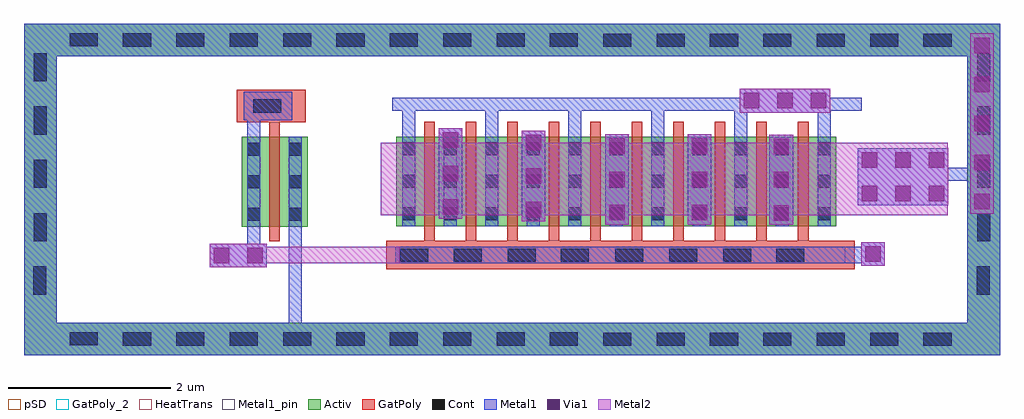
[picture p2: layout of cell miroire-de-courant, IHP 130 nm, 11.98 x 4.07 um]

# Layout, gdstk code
import gdstk
lib = gdstk.Library(unit=1e-6, precision=1e-09)
def R(c, l, rs):  # rectangles x0, y0, x1, y1
    for r in rs: c.add(gdstk.rectangle(r[:2], r[2:], *l))
def A(c, l, x, y, w, h, nx, ny, dx, dy):  # array of equal rectangles
    R(c, l, [(x+i*dx, y+j*dy, x+i*dx+w, y+j*dy+h) for i in range(nx) for j in range(ny)])
Activ = (1, 0)
GatPoly = (5, 0)
GatPoly_2 = (5, 2)
Cont = (6, 0)
Metal1 = (8, 0)
Metal1_pin = (8, 2)
Metal2 = (10, 0)
pSD = (14, 0)
Via1 = (19, 0)
HeatTrans = (51, 0)

via_stack_1 = lib.new_cell('via_stack$1')
R(via_stack_1, Metal1, [(-0.145,-0.555,0.145,0.555)])
R(via_stack_1, Metal2, [(-0.145,-0.555,0.145,0.555)])
A(via_stack_1, Via1, -0.095, -0.505, 0.19, 0.19, 1, 3, 0, 0.41)

nmos_2 = lib.new_cell('nmos$2')
R(nmos_2, Activ, [(0,0,0.3,0.3), (0,0,0.81,1.1), (0.51,0,0.81,0.3)])
R(nmos_2, GatPoly, [(0.34,-0.18,0.47,1.28)])
R(nmos_2, GatPoly_2, [(0.34,-0.18,0.47,1.28)])
A(nmos_2, Cont, 0.07, 0.07, 0.16, 0.16, 1, 3, 0, 0.4)
A(nmos_2, Cont, 0.58, 0.07, 0.16, 0.16, 1, 3, 0, 0.4)
R(nmos_2, Metal1, [(0.07,0,0.23,1.1), (0.58,0,0.74,1.1)])
R(nmos_2, Metal1_pin, [(0.07,0,0.23,1.1), (0.58,0,0.74,1.1)])
R(nmos_2, HeatTrans, [(0.34,-0.18,0.47,1.28)])
nmos_2.add(gdstk.Label('nmos', (0.405,0.55), layer=63, texttype=0))
nmos_2.add(gdstk.Label('nmos', (0.405,0.55), layer=51, texttype=0))

nmos_3 = lib.new_cell('nmos$3')
A(nmos_3, Activ, 0, 0, 0.3, 0.3, 11, 1, 0.51, 0)
R(nmos_3, Activ, [(0,0,5.4,1.1)])
A(nmos_3, GatPoly, 0.34, -0.18, 0.13, 1.46, 10, 1, 0.51, 0)
R(nmos_3, GatPoly_2, [(0.34,-0.18,0.47,1.28)])
A(nmos_3, Cont, 0.07, 0.07, 0.16, 0.16, 11, 3, 0.51, 0.4)
A(nmos_3, Metal1, 0.07, 0, 0.16, 1.1, 11, 1, 0.51, 0)
R(nmos_3, Metal1_pin, [(0.07,0,0.23,1.1), (0.58,0,0.74,1.1)])
A(nmos_3, HeatTrans, 0.34, -0.18, 0.13, 1.46, 10, 1, 0.51, 0)
nmos_3.add(gdstk.Label('nmos', (0.405,0.55), layer=63, texttype=0))
nmos_3.add(gdstk.Label('nmos', (0.405,0.55), layer=51, texttype=0))
nmos_3.add(gdstk.Label('nmos', (0.915,0.55), layer=51, texttype=0))
nmos_3.add(gdstk.Label('nmos', (1.425,0.55), layer=51, texttype=0))
nmos_3.add(gdstk.Label('nmos', (1.935,0.55), layer=51, texttype=0))
nmos_3.add(gdstk.Label('nmos', (2.445,0.55), layer=51, texttype=0))
nmos_3.add(gdstk.Label('nmos', (2.955,0.55), layer=51, texttype=0))
nmos_3.add(gdstk.Label('nmos', (3.465,0.55), layer=51, texttype=0))
nmos_3.add(gdstk.Label('nmos', (3.975,0.55), layer=51, texttype=0))
nmos_3.add(gdstk.Label('nmos', (4.485,0.55), layer=51, texttype=0))
nmos_3.add(gdstk.Label('nmos', (4.995,0.55), layer=51, texttype=0))

via_stack_4 = lib.new_cell('via_stack$4')
R(via_stack_4, Metal1, [(-0.555,-0.35,0.555,0.35)])
R(via_stack_4, Metal2, [(-0.555,-0.35,0.555,0.35)])
A(via_stack_4, Via1, -0.505, -0.3, 0.19, 0.19, 3, 2, 0.41, 0.41)

via_stack_5 = lib.new_cell('via_stack$5')
R(via_stack_5, Metal1, [(-0.555,-0.145,0.555,0.145)])
R(via_stack_5, Metal2, [(-0.555,-0.145,0.555,0.145)])
A(via_stack_5, Via1, -0.505, -0.095, 0.19, 0.19, 3, 1, 0.41, 0)

via_stack_9 = lib.new_cell('via_stack$9')
R(via_stack_9, Metal1, [(-0.35,-0.145,0.35,0.145)])
R(via_stack_9, Metal2, [(-0.35,-0.145,0.35,0.145)])
R(via_stack_9, Via1, [(-0.3,-0.095,-0.11,0.095), (0.11,-0.095,0.3,0.095)])

via_stack_12 = lib.new_cell('via_stack$12')
R(via_stack_12, Metal1, [(-0.145,-0.145,0.145,0.145)])
R(via_stack_12, Metal2, [(-0.145,-0.145,0.145,0.145)])
R(via_stack_12, Via1, [(-0.095,-0.095,0.095,0.095)])

via_stack = lib.new_cell('via_stack')
R(via_stack, Metal1, [(-0.145,-1.105,0.145,1.105)])
R(via_stack, Metal2, [(-0.145,-1.105,0.145,1.105)])
A(via_stack, Via1, -0.095, -1.055, 0.19, 0.19, 1, 5, 0, 0.48)

miroire_de_courant = lib.new_cell('miroire-de-courant')
R(miroire_de_courant, Metal2, [(-1.61,-0.315,4.38,0.575), (4.38,-0.315,5.35,0.575)])
miroire_de_courant.add(gdstk.FlexPath([(-3.17,0.645),(-3.17,1.2)], 0.16, ends="flush", simple_path=True, layer=8, datatype=0))  # Metal1
miroire_de_courant.add(gdstk.FlexPath([(-3.17,-0.455),(-3.17,-0.885)], 0.16, ends="flush", simple_path=True, layer=8, datatype=0))  # Metal1
miroire_de_courant.add(gdstk.FlexPath([(-2.66,-0.455),(-2.66,-1.635)], 0.16, ends="flush", simple_path=True, layer=8, datatype=0))  # Metal1
miroire_de_courant.add(gdstk.FlexPath([(4.09,-0.805),(4.525,-0.805),(4.525,-0.805)], 0.2, ends="flush", simple_path=True, layer=8, datatype=0))  # Metal1
miroire_de_courant.add(gdstk.FlexPath([(-1.43,-0.805),(4.09,-0.805)], 0.2, ends="flush", simple_path=True, layer=8, datatype=0))  # Metal1
miroire_de_courant.add(gdstk.FlexPath([(-5.59,1.835),(5.59,1.835)], 0.4, ends="flush", simple_path=True, layer=8, datatype=0))  # Metal1
miroire_de_courant.add(gdstk.FlexPath([(5.705,0.19),(5.04,0.19)], 0.16, ends="flush", simple_path=True, layer=8, datatype=0))  # Metal1
miroire_de_courant.add(gdstk.FlexPath([(-5.59,-1.835),(5.59,-1.835)], 0.4, ends="flush", simple_path=True, layer=8, datatype=0))  # Metal1
miroire_de_courant.add(gdstk.FlexPath([(5.79,-2.035),(5.79,2.035)], 0.4, ends="flush", simple_path=True, layer=8, datatype=0))  # Metal1
miroire_de_courant.add(gdstk.FlexPath([(-5.79,-2.035),(-5.79,2.035)], 0.4, ends="flush", simple_path=True, layer=8, datatype=0))  # Metal1
miroire_de_courant.add(gdstk.FlexPath([(-2.7,1.025),(-3.29,1.025)], 0.35, ends="flush", simple_path=True, layer=8, datatype=0))  # Metal1
miroire_de_courant.add(gdstk.FlexPath([(-1.47,1.045),(4.295,1.045)], 0.16, ends="flush", simple_path=True, layer=8, datatype=0))  # Metal1
miroire_de_courant.add(gdstk.FlexPath([(-1.27,0.965),(-1.27,0.65)], 0.16, ends="flush", simple_path=True, layer=8, datatype=0))  # Metal1
miroire_de_courant.add(gdstk.FlexPath([(3.83,0.965),(3.83,0.65)], 0.16, ends="flush", simple_path=True, layer=8, datatype=0))  # Metal1
miroire_de_courant.add(gdstk.FlexPath([(2.81,0.965),(2.81,0.65)], 0.16, ends="flush", simple_path=True, layer=8, datatype=0))  # Metal1
miroire_de_courant.add(gdstk.FlexPath([(1.79,0.965),(1.79,0.65)], 0.16, ends="flush", simple_path=True, layer=8, datatype=0))  # Metal1
miroire_de_courant.add(gdstk.FlexPath([(0.77,0.965),(0.77,0.65)], 0.16, ends="flush", simple_path=True, layer=8, datatype=0))  # Metal1
miroire_de_courant.add(gdstk.FlexPath([(-0.25,0.965),(-0.25,0.65)], 0.16, ends="flush", simple_path=True, layer=8, datatype=0))  # Metal1
miroire_de_courant.add(gdstk.FlexPath([(-1.375,-0.805),(-3.3,-0.805)], 0.2, ends="flush", simple_path=True, layer=10, datatype=0))  # Metal2
miroire_de_courant.add(gdstk.FlexPath([(-1.43,-0.805),(4.09,-0.805)], 0.2, ends="flush", simple_path=True, layer=8, datatype=2))  # Metal1_pin
miroire_de_courant.add(gdstk.FlexPath([(-5.59,1.835),(5.59,1.835)], 0.4, ends="flush", simple_path=True, layer=1, datatype=0))  # Activ
miroire_de_courant.add(gdstk.FlexPath([(-5.59,-1.835),(5.59,-1.835)], 0.4, ends="flush", simple_path=True, layer=1, datatype=0))  # Activ
miroire_de_courant.add(gdstk.FlexPath([(5.79,-2.035),(5.79,2.035)], 0.4, ends="flush", simple_path=True, layer=1, datatype=0))  # Activ
miroire_de_courant.add(gdstk.FlexPath([(-5.79,-2.035),(-5.79,2.035)], 0.4, ends="flush", simple_path=True, layer=1, datatype=0))  # Activ
miroire_de_courant.add(gdstk.FlexPath([(-3.38,1.025),(-2.53,1.025)], 0.4, ends="flush", simple_path=True, layer=5, datatype=0))  # GatPoly
miroire_de_courant.add(gdstk.FlexPath([(-1.545,-0.805),(4.205,-0.805)], 0.35, ends="flush", simple_path=True, layer=5, datatype=0))  # GatPoly
miroire_de_courant.add(gdstk.FlexPath([(3.43,-1.84),(3.085,-1.84)], 0.16, ends="flush", simple_path=True, layer=6, datatype=0))  # Cont
miroire_de_courant.add(gdstk.FlexPath([(4.085,-1.84),(3.74,-1.84)], 0.16, ends="flush", simple_path=True, layer=6, datatype=0))  # Cont
miroire_de_courant.add(gdstk.FlexPath([(5.79,1.675),(5.79,1.33)], 0.16, ends="flush", simple_path=True, layer=6, datatype=0))  # Cont
miroire_de_courant.add(gdstk.FlexPath([(5.79,1.02),(5.79,0.675)], 0.16, ends="flush", simple_path=True, layer=6, datatype=0))  # Cont
miroire_de_courant.add(gdstk.FlexPath([(5.79,0.365),(5.79,0.02)], 0.16, ends="flush", simple_path=True, layer=6, datatype=0))  # Cont
miroire_de_courant.add(gdstk.FlexPath([(0.81,1.835),(0.465,1.835)], 0.16, ends="flush", simple_path=True, layer=6, datatype=0))  # Cont
miroire_de_courant.add(gdstk.FlexPath([(1.465,1.83),(1.12,1.83)], 0.16, ends="flush", simple_path=True, layer=6, datatype=0))  # Cont
miroire_de_courant.add(gdstk.FlexPath([(5.395,1.83),(5.05,1.83)], 0.16, ends="flush", simple_path=True, layer=6, datatype=0))  # Cont
miroire_de_courant.add(gdstk.FlexPath([(4.74,1.83),(4.395,1.83)], 0.16, ends="flush", simple_path=True, layer=6, datatype=0))  # Cont
miroire_de_courant.add(gdstk.FlexPath([(2.12,1.83),(1.775,1.83)], 0.16, ends="flush", simple_path=True, layer=6, datatype=0))  # Cont
miroire_de_courant.add(gdstk.FlexPath([(2.775,1.83),(2.43,1.83)], 0.16, ends="flush", simple_path=True, layer=6, datatype=0))  # Cont
miroire_de_courant.add(gdstk.FlexPath([(3.43,1.83),(3.085,1.83)], 0.16, ends="flush", simple_path=True, layer=6, datatype=0))  # Cont
miroire_de_courant.add(gdstk.FlexPath([(4.085,1.83),(3.74,1.83)], 0.16, ends="flush", simple_path=True, layer=6, datatype=0))  # Cont
miroire_de_courant.add(gdstk.FlexPath([(5.79,-0.29),(5.79,-0.635)], 0.16, ends="flush", simple_path=True, layer=6, datatype=0))  # Cont
miroire_de_courant.add(gdstk.FlexPath([(5.785,-0.945),(5.785,-1.29)], 0.16, ends="flush", simple_path=True, layer=6, datatype=0))  # Cont
miroire_de_courant.add(gdstk.FlexPath([(0.29,-0.805),(-0.055,-0.805)], 0.16, ends="flush", simple_path=True, layer=6, datatype=0))  # Cont
miroire_de_courant.add(gdstk.FlexPath([(1.61,-0.805),(1.265,-0.805)], 0.16, ends="flush", simple_path=True, layer=6, datatype=0))  # Cont
miroire_de_courant.add(gdstk.FlexPath([(0.945,-0.805),(0.6,-0.805)], 0.16, ends="flush", simple_path=True, layer=6, datatype=0))  # Cont
miroire_de_courant.add(gdstk.FlexPath([(3.59,-0.805),(3.245,-0.805)], 0.16, ends="flush", simple_path=True, layer=6, datatype=0))  # Cont
miroire_de_courant.add(gdstk.FlexPath([(2.935,-0.805),(2.59,-0.805)], 0.16, ends="flush", simple_path=True, layer=6, datatype=0))  # Cont
miroire_de_courant.add(gdstk.FlexPath([(2.275,-0.805),(1.93,-0.805)], 0.16, ends="flush", simple_path=True, layer=6, datatype=0))  # Cont
miroire_de_courant.add(gdstk.FlexPath([(0.155,1.835),(-0.19,1.835)], 0.16, ends="flush", simple_path=True, layer=6, datatype=0))  # Cont
miroire_de_courant.add(gdstk.FlexPath([(0.155,-1.835),(-0.19,-1.835)], 0.16, ends="flush", simple_path=True, layer=6, datatype=0))  # Cont
miroire_de_courant.add(gdstk.FlexPath([(-0.37,-0.805),(-0.715,-0.805)], 0.16, ends="flush", simple_path=True, layer=6, datatype=0))  # Cont
miroire_de_courant.add(gdstk.FlexPath([(-1.03,-0.805),(-1.375,-0.805)], 0.16, ends="flush", simple_path=True, layer=6, datatype=0))  # Cont
miroire_de_courant.add(gdstk.FlexPath([(-0.5,1.835),(-0.845,1.835)], 0.16, ends="flush", simple_path=True, layer=6, datatype=0))  # Cont
miroire_de_courant.add(gdstk.FlexPath([(-1.81,1.835),(-2.155,1.835)], 0.16, ends="flush", simple_path=True, layer=6, datatype=0))  # Cont
miroire_de_courant.add(gdstk.FlexPath([(-2.465,1.835),(-2.81,1.835)], 0.16, ends="flush", simple_path=True, layer=6, datatype=0))  # Cont
miroire_de_courant.add(gdstk.FlexPath([(-3.12,1.835),(-3.465,1.835)], 0.16, ends="flush", simple_path=True, layer=6, datatype=0))  # Cont
miroire_de_courant.add(gdstk.FlexPath([(-3.775,1.835),(-4.12,1.835)], 0.16, ends="flush", simple_path=True, layer=6, datatype=0))  # Cont
miroire_de_courant.add(gdstk.FlexPath([(-4.43,1.835),(-4.775,1.835)], 0.16, ends="flush", simple_path=True, layer=6, datatype=0))  # Cont
miroire_de_courant.add(gdstk.FlexPath([(-5.085,1.84),(-5.43,1.84)], 0.16, ends="flush", simple_path=True, layer=6, datatype=0))  # Cont
miroire_de_courant.add(gdstk.FlexPath([(-1.155,1.835),(-1.5,1.835)], 0.16, ends="flush", simple_path=True, layer=6, datatype=0))  # Cont
miroire_de_courant.add(gdstk.FlexPath([(-1.81,-1.835),(-2.155,-1.835)], 0.16, ends="flush", simple_path=True, layer=6, datatype=0))  # Cont
miroire_de_courant.add(gdstk.FlexPath([(-2.465,-1.835),(-2.81,-1.835)], 0.16, ends="flush", simple_path=True, layer=6, datatype=0))  # Cont
miroire_de_courant.add(gdstk.FlexPath([(-3.12,-1.835),(-3.465,-1.835)], 0.16, ends="flush", simple_path=True, layer=6, datatype=0))  # Cont
miroire_de_courant.add(gdstk.FlexPath([(-3.775,-1.835),(-4.12,-1.835)], 0.16, ends="flush", simple_path=True, layer=6, datatype=0))  # Cont
miroire_de_courant.add(gdstk.FlexPath([(-4.43,-1.835),(-4.775,-1.835)], 0.16, ends="flush", simple_path=True, layer=6, datatype=0))  # Cont
miroire_de_courant.add(gdstk.FlexPath([(-5.085,-1.83),(-5.43,-1.83)], 0.16, ends="flush", simple_path=True, layer=6, datatype=0))  # Cont
miroire_de_courant.add(gdstk.FlexPath([(-1.155,-1.835),(-1.5,-1.835)], 0.16, ends="flush", simple_path=True, layer=6, datatype=0))  # Cont
miroire_de_courant.add(gdstk.FlexPath([(-0.5,-1.835),(-0.845,-1.835)], 0.16, ends="flush", simple_path=True, layer=6, datatype=0))  # Cont
miroire_de_courant.add(gdstk.FlexPath([(-5.79,1.675),(-5.79,1.33)], 0.16, ends="flush", simple_path=True, layer=6, datatype=0))  # Cont
miroire_de_courant.add(gdstk.FlexPath([(-5.79,1.02),(-5.79,0.675)], 0.16, ends="flush", simple_path=True, layer=6, datatype=0))  # Cont
miroire_de_courant.add(gdstk.FlexPath([(-5.79,0.365),(-5.79,0.02)], 0.16, ends="flush", simple_path=True, layer=6, datatype=0))  # Cont
miroire_de_courant.add(gdstk.FlexPath([(-5.79,-0.29),(-5.79,-0.635)], 0.16, ends="flush", simple_path=True, layer=6, datatype=0))  # Cont
miroire_de_courant.add(gdstk.FlexPath([(-5.795,-0.945),(-5.795,-1.29)], 0.16, ends="flush", simple_path=True, layer=6, datatype=0))  # Cont
miroire_de_courant.add(gdstk.FlexPath([(-2.83,1.025),(-3.175,1.025)], 0.16, ends="flush", simple_path=True, layer=6, datatype=0))  # Cont
miroire_de_courant.add(gdstk.FlexPath([(2.12,-1.84),(1.775,-1.84)], 0.16, ends="flush", simple_path=True, layer=6, datatype=0))  # Cont
miroire_de_courant.add(gdstk.FlexPath([(1.465,-1.84),(1.12,-1.84)], 0.16, ends="flush", simple_path=True, layer=6, datatype=0))  # Cont
miroire_de_courant.add(gdstk.FlexPath([(5.395,-1.84),(5.05,-1.84)], 0.16, ends="flush", simple_path=True, layer=6, datatype=0))  # Cont
miroire_de_courant.add(gdstk.FlexPath([(4.74,-1.84),(4.395,-1.84)], 0.16, ends="flush", simple_path=True, layer=6, datatype=0))  # Cont
miroire_de_courant.add(gdstk.FlexPath([(0.81,-1.835),(0.465,-1.835)], 0.16, ends="flush", simple_path=True, layer=6, datatype=0))  # Cont
miroire_de_courant.add(gdstk.FlexPath([(2.775,-1.84),(2.43,-1.84)], 0.16, ends="flush", simple_path=True, layer=6, datatype=0))  # Cont
miroire_de_courant.add(gdstk.FlexPath([(-5.59,1.835),(5.59,1.835),(5.59,1.835),(5.59,1.835),(5.59,1.835)], 0.4, ends="flush", simple_path=True, layer=14, datatype=0))  # pSD
miroire_de_courant.add(gdstk.FlexPath([(-5.59,-1.835),(5.59,-1.835),(5.59,-1.835),(5.59,-1.835),(5.59,-1.835)], 0.4, ends="flush", simple_path=True, layer=14, datatype=0))  # pSD
miroire_de_courant.add(gdstk.FlexPath([(5.79,2.035),(5.79,-2.035)], 0.4, ends="flush", simple_path=True, layer=14, datatype=0))  # pSD
miroire_de_courant.add(gdstk.FlexPath([(-5.79,2.035),(-5.79,-2.035)], 0.4, ends="flush", simple_path=True, layer=14, datatype=0))  # pSD
r = gdstk.Reference(via_stack_1, (-0.755,0.195)); r.repetition = gdstk.Repetition(1, 1, v1=(0,0), v2=(0,0)); miroire_de_courant.add(r)
r = gdstk.Reference(via_stack_1, (3.305,0.12)); r.repetition = gdstk.Repetition(1, 1, v1=(0,0), v2=(0,0)); miroire_de_courant.add(r)
r = gdstk.Reference(via_stack_1, (2.3,0.125)); r.repetition = gdstk.Repetition(1, 1, v1=(0,0), v2=(0,0)); miroire_de_courant.add(r)
miroire_de_courant.add(gdstk.Reference(nmos_2, (-3.32,-0.455)))
r = gdstk.Reference(via_stack_1, (1.29,0.125)); r.repetition = gdstk.Repetition(1, 1, v1=(0,0), v2=(0,0)); miroire_de_courant.add(r)
r = gdstk.Reference(via_stack_1, (0.265,0.165)); r.repetition = gdstk.Repetition(1, 1, v1=(0,0), v2=(0,0)); miroire_de_courant.add(r)
miroire_de_courant.add(gdstk.Reference(nmos_3, (-1.42,-0.45)))
r = gdstk.Reference(via_stack_4, (4.8,0.155)); r.repetition = gdstk.Repetition(1, 1, v1=(0,0), v2=(0,0)); miroire_de_courant.add(r)
r = gdstk.Reference(via_stack_5, (3.35,1.09)); r.repetition = gdstk.Repetition(1, 1, v1=(0,0), v2=(0,0)); miroire_de_courant.add(r)
r = gdstk.Reference(via_stack_9, (-3.36,-0.81)); r.repetition = gdstk.Repetition(1, 1, v1=(0,0), v2=(0,0)); miroire_de_courant.add(r)
r = gdstk.Reference(via_stack_12, (4.43,-0.79)); r.repetition = gdstk.Repetition(1, 1, v1=(0,0), v2=(0,0)); miroire_de_courant.add(r)
r = gdstk.Reference(via_stack, (5.77,0.81)); r.repetition = gdstk.Repetition(1, 1, v1=(0,0), v2=(0,0)); miroire_de_courant.add(r)

lib.write_gds('miroire-de-courant.gds')
